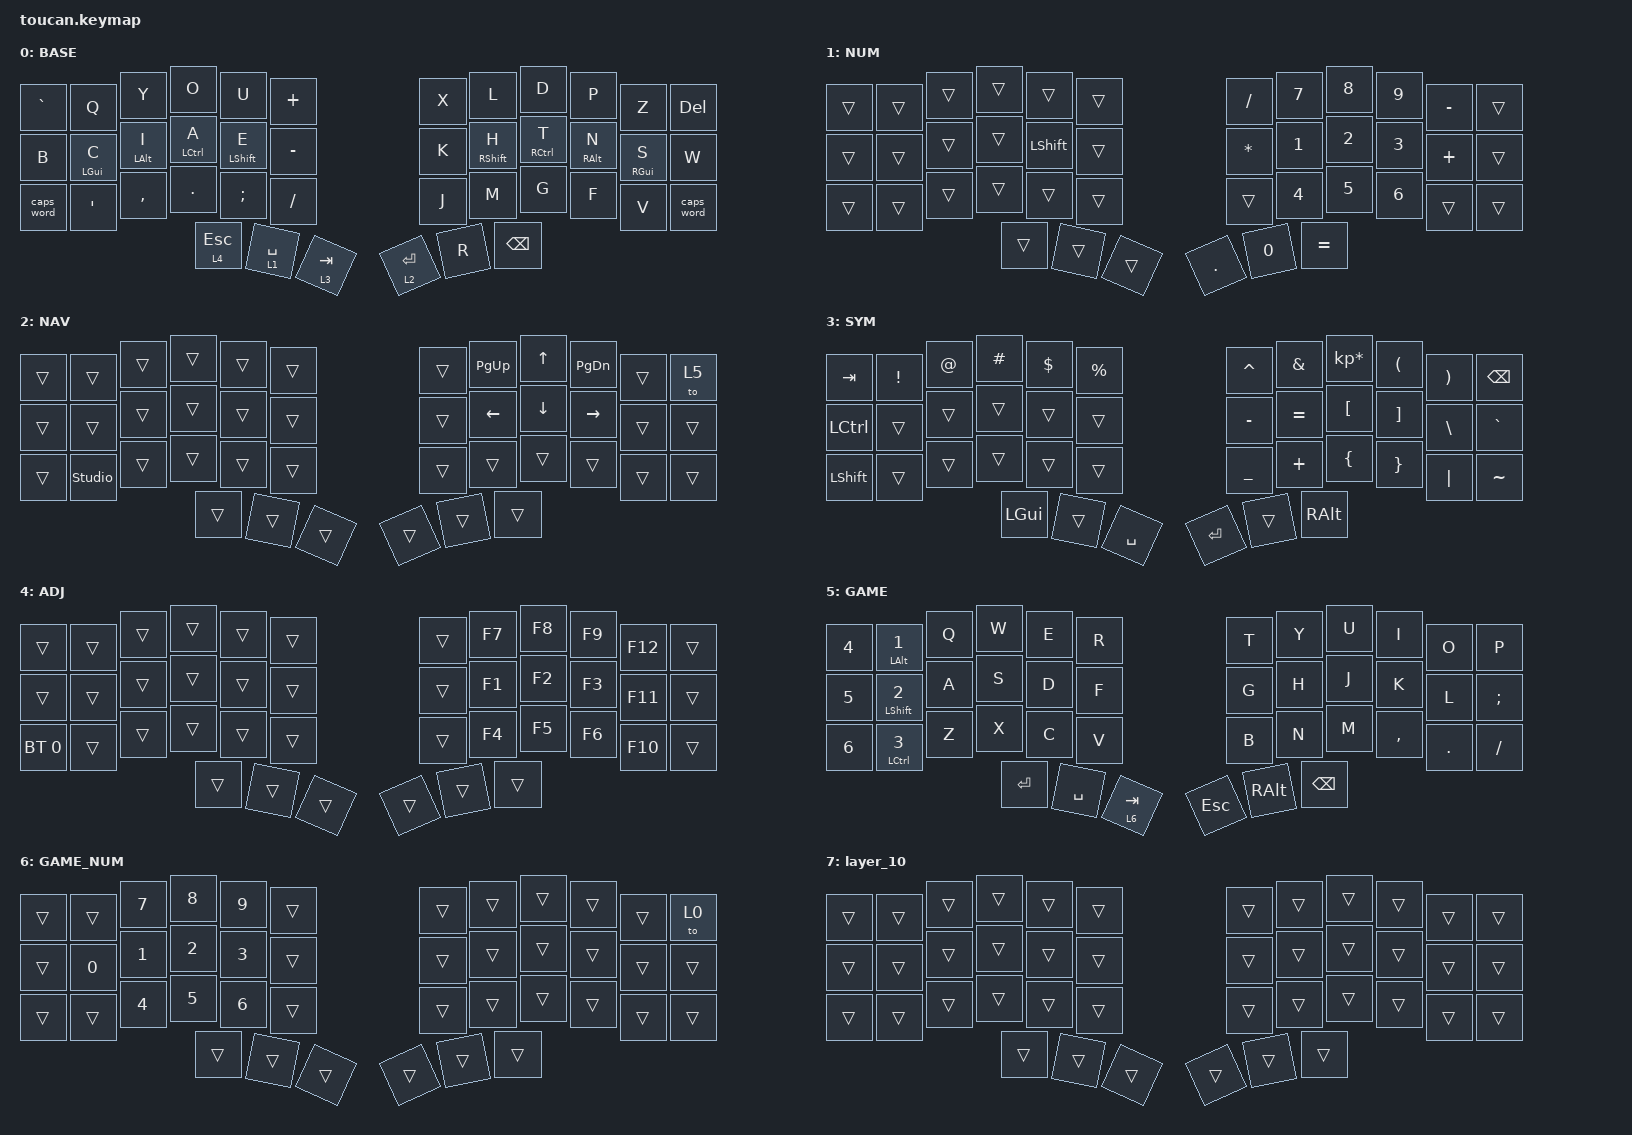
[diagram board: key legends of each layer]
#include <behaviors.dtsi>
#include <dt-bindings/zmk/bt.h>
#include <dt-bindings/zmk/keys.h>

#define BASE 0
#define NAV  1
#define SYM  2
#define ADJ  3

/ {
    conditional_layers { compatible = "zmk,conditional-layers"; };

    behaviors {
        hml: hml {
            compatible = "zmk,behavior-hold-tap";
            label = "HML";
            bindings = <&kp>, <&kp>;

            #binding-cells = <2>;
            tapping-term-ms = <280>;
            quick-tap-ms = <175>;
            flavor = "balanced";
            hold-trigger-key-positions = <6 7 8 9 10 11 18 19 20 21 22 23 30 31 32 33 34 35 39 40 41>;
            hold-trigger-on-release;
            require-prior-idle-ms = <150>;
        };

        hmr: hmr {
            compatible = "zmk,behavior-hold-tap";
            label = "HMR";
            bindings = <&kp>, <&kp>;

            #binding-cells = <2>;
            tapping-term-ms = <280>;
            quick-tap-ms = <175>;
            flavor = "balanced";
            hold-trigger-key-positions = <29 17 5 0 1 2 3 4 5 12 13 14 15 16 17 24 25 26 27 28 29 36 37 38>;
            hold-trigger-on-release;
            require-prior-idle-ms = <150>;
        };
    };

    keymap {
        compatible = "zmk,keymap";

        base {
            display-name = "BASE";
            bindings = <
&kp GRAVE  &kp Q  &kp Y  &kp O  &kp U  &kp PLUS  &kp X  &kp L  &kp D  &kp P  &kp Z  &kp DELETE  &kp B  &hml LEFT_GUI C  &hml LEFT_ALT I  &hml LCTRL A  &hml LEFT_SHIFT E  &kp MINUS  &kp K  &hmr RIGHT_SHIFT H  &hmr RCTRL T  &hmr RIGHT_ALT N  &hmr RIGHT_GUI S  &kp W  &caps_word  &kp SQT  &kp COMMA  &kp PERIOD  &kp SEMICOLON  &kp SLASH  &kp J  &kp M  &kp G  &kp F  &kp V  &caps_word  &lt 4 ESCAPE  &lt 1 SPACE  &lt 3 TAB  &lt 2 ENTER  &kp R  &kp BACKSPACE
            >;
        };

        NUM {
            bindings = <
&trans  &trans  &trans  &trans  &trans  &trans  &kp SLASH  &kp NUMBER_7  &kp NUMBER_8  &kp NUMBER_9  &kp MINUS  &trans  &trans  &trans  &trans  &trans  &kp LEFT_SHIFT  &trans  &kp ASTERISK  &kp NUMBER_1  &kp NUMBER_2  &kp NUMBER_3  &kp PLUS  &trans  &trans  &trans  &trans  &trans  &trans  &trans  &trans  &kp NUMBER_4  &kp NUMBER_5  &kp NUMBER_6  &trans  &trans  &trans  &trans  &trans  &kp PERIOD  &kp NUMBER_0  &kp EQUAL
            >;
        };

        nav {
            display-name = "NAV";
            bindings = <
&trans  &trans  &trans  &trans  &trans  &trans  &trans  &kp PAGE_UP  &kp UP  &kp PAGE_DOWN  &trans  &to 5  &trans  &trans  &trans  &trans  &trans  &trans  &trans  &kp LEFT  &kp DOWN  &kp RIGHT  &trans  &trans  &trans  &studio_unlock  &trans  &trans  &trans  &trans  &trans  &trans  &trans  &trans  &trans  &trans  &trans  &trans  &trans  &trans  &trans  &trans
            >;
        };

        sym {
            display-name = "SYM";
            bindings = <
&kp TAB  &kp EXCL  &kp AT  &kp HASH  &kp DLLR  &kp PRCNT  &kp CARET  &kp AMPS  &kp KP_MULTIPLY  &kp LPAR  &kp RPAR  &kp BSPC  &kp LCTRL  &trans  &trans  &trans  &trans  &trans  &kp MINUS  &kp EQUAL  &kp LBKT  &kp RBKT  &kp BSLH  &kp GRAVE  &kp LSHFT  &trans  &trans  &trans  &trans  &trans  &kp UNDER  &kp PLUS  &kp LBRC  &kp RBRC  &kp PIPE  &kp TILDE  &kp LGUI  &trans  &kp SPACE  &kp RET  &trans  &kp RALT
            >;
        };

        adj {
            display-name = "ADJ";
            bindings = <
&trans  &trans  &trans  &trans  &trans  &trans  &trans  &kp F7  &kp F8  &kp F9  &kp F12  &trans  &trans  &trans  &trans  &trans  &trans  &trans  &trans  &kp F1  &kp F2  &kp F3  &kp F11  &trans  &bt BT_SEL 0  &trans  &trans  &trans  &trans  &trans  &trans  &kp F4  &kp F5  &kp F6  &kp F10  &trans  &trans  &trans  &trans  &trans  &trans  &trans
            >;
        };

        GAME {
            bindings = <
&kp NUMBER_4  &mt LEFT_ALT NUMBER_1  &kp Q  &kp W  &kp E  &kp R  &kp T  &kp Y  &kp U  &kp I  &kp O  &kp P  &kp NUMBER_5  &mt LEFT_SHIFT NUMBER_2  &kp A  &kp S  &kp D  &kp F  &kp G  &kp H  &kp J  &kp K  &kp L  &kp SEMICOLON  &kp NUMBER_6  &mt LCTRL NUMBER_3  &kp Z  &kp X  &kp C  &kp V  &kp B  &kp N  &kp M  &kp COMMA  &kp PERIOD  &kp SLASH  &kp ENTER  &kp SPACE  &lt 6 TAB  &kp ESCAPE  &kp RIGHT_ALT  &kp BACKSPACE
            >;
        };

        GAME_NUM {
            bindings = <
&trans  &trans  &kp NUMBER_7  &kp NUMBER_8  &kp NUMBER_9  &trans  &trans  &trans  &trans  &trans  &trans  &to 0  &trans  &kp NUMBER_0  &kp NUMBER_1  &kp NUMBER_2  &kp NUMBER_3  &trans  &trans  &trans  &trans  &trans  &trans  &trans  &trans  &trans  &kp NUMBER_4  &kp NUMBER_5  &kp NUMBER_6  &trans  &trans  &trans  &trans  &trans  &trans  &trans  &trans  &trans  &trans  &trans  &trans  &trans
            >;
        };

        extra_1 { status = "reserved"; };

        extra_2 { status = "reserved"; };

        extra_3 { status = "reserved"; };

        layer_10 {
            bindings = <
&trans  &trans  &trans  &trans  &trans  &trans  &trans  &trans  &trans  &trans  &trans  &trans  &trans  &trans  &trans  &trans  &trans  &trans  &trans  &trans  &trans  &trans  &trans  &trans  &trans  &trans  &trans  &trans  &trans  &trans  &trans  &trans  &trans  &trans  &trans  &trans  &trans  &trans  &trans  &trans  &trans  &trans
            >;
        };
    };
};
